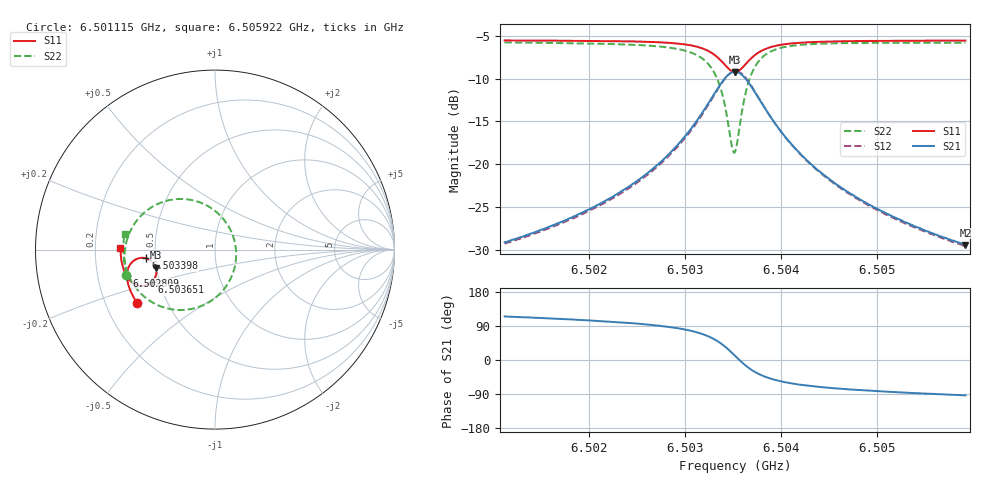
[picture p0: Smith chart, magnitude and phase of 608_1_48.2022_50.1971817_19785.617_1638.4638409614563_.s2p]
#  HZ  S  RI  R  50.00
! Rohde & Schwarz Vector Network Analyzer
! Rohde-Schwarz,ZNB20-2Port,1311601062101988,3.16
! Created: UTC 3/20/2024, 12:03:17 PM
! freq[Hz]  re:S11  im:S11  re:S21  im:S21  re:S12  im:S12  re:S22  im:S22
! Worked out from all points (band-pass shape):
!   401 points, 6.501115 GHz to 6.505922 GHz, reference 50 ohm
!   highest |S21| = -9.20 dB at 6.503518 GHz (marker M1); lowest = -29.4 dB at 6.505922 GHz (marker M2)
!   |S21| within 3 dB of the highest: 6.503279 GHz to 6.503759 GHz (480.4 kHz wide, 0.00739 % of centre)
!   lowest |S11| = -9.2 dB at 6.503518 GHz (marker M3), VSWR 2.05, Z = 24.8 - j5.68 ohm
!   |S11| at or under -10 dB: nowhere
!   |S22| runs from -18.7 to -5.8 dB; largest |S21 - S12| = 0.012
!   S11 on the Smith chart (normalised r, x): 6.501115 GHz: 0.34, -0.28; 6.502809 GHz: 0.33, -0.13; 6.503398 GHz: 0.44, -0.05; 6.503651 GHz: 0.45, -0.19; 6.505922 GHz: 0.31, +0.01
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6.5011145e9  -0.4339 -0.2993  -0.0148 0.0318  -0.0129 0.0319  -0.4937 -0.1409
6.5019198e9  -0.4674 -0.2383  -0.014 0.0503  -0.0114 0.0498  -0.5044 -0.0527
6.5023765e9  -0.4828 -0.1964  -0.0105 0.0713  -0.0074 0.07  -0.4993 0.0152
6.5027251e9  -0.4903 -0.1562  -0.000894 0.1011  0.00273 0.0987  -0.4782 0.089
6.5028092e9  -0.4907 -0.1445  0.00397 0.1118  0.00775 0.1088  -0.4675 0.1122
6.5030135e9  -0.4859 -0.1105  0.0271 0.1469  0.0308 0.1425  -0.4195 0.1811
6.5031578e9  -0.4714 -0.0805  0.0654 0.1811  0.0681 0.1753  -0.3453 0.2408
6.503302e9  -0.4325 -0.0508  0.1487 0.2102  0.1494 0.2041  -0.1934 0.282
6.5033981e9  -0.3848 -0.0481  0.2421 0.1932  0.2422 0.1888  -0.0319 0.2381
6.5034823e9  -0.3409 -0.0782  0.322 0.1171  0.3249 0.1132  0.0961 0.0877
6.5035183e9  -0.3297 -0.101  0.3401 0.067  0.3442 0.0618  0.1175 -0.00597
6.5035424e9  -0.3267 -0.1176  0.3436 0.0317  0.3481 0.0251  0.1151 -0.0709
6.5035784e9  -0.3289 -0.1424  0.3361 -0.0197  0.3401 -0.0287  0.0872 -0.1621
6.5036505e9  -0.3516 -0.1806  0.288 -0.0978  0.2885 -0.1098  -0.0257 -0.2886
6.5036986e9  -0.3728 -0.1945  0.2471 -0.1272  0.2446 -0.1391  -0.1116 -0.3261
6.5037587e9  -0.3983 -0.2014  0.1989 -0.1441  0.1938 -0.1544  -0.2065 -0.3363
6.503915e9  -0.4466 -0.1921  0.113 -0.14  0.1059 -0.1454  -0.3611 -0.2864
6.5040832e9  -0.4749 -0.1706  0.0665 -0.1183  0.06 -0.1209  -0.4363 -0.2187
6.5043236e9  -0.4963 -0.1408  0.0351 -0.0925  0.0303 -0.0931  -0.4812 -0.1443
6.5046722e9  -0.5116 -0.1033  0.0159 -0.0685  0.0125 -0.0681  -0.504 -0.0701
6.5051289e9  -0.5214 -0.06  0.00531 -0.0503  0.00299 -0.0496  -0.5109 -0.00225
6.5059222e9  -0.5266 0.00787  -0.00194 -0.0338  -0.00331 -0.0331  -0.504 0.0844
